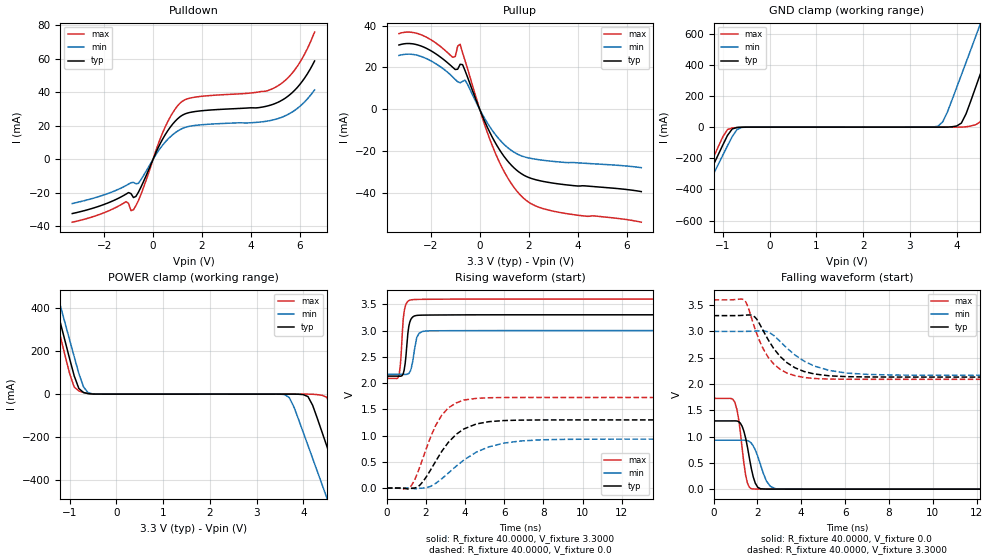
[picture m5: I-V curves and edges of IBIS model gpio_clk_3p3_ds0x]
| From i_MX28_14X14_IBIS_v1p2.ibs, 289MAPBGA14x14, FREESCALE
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|   Model gpio_clk_3p3_ds0x
| This model was characterised for following simulation conditions:
| Spice Models:
|  - Typ Condition
|   ..../backup/r63536/IBIS/GPIO_IBIS/io_dig_gpio_clk_bs_ir_3p3_8mA/typ.model
|  - Min Condition
|   ..../backup/r63536/IBIS/GPIO_IBIS/io_dig_gpio_clk_bs_ir_3p3_8mA/wcs.model
|  - Max Condition
|   ..../backup/r63536/IBIS/GPIO_IBIS/io_dig_gpio_clk_bs_ir_3p3_8mA/bcs.model
[Model]  gpio_clk_3p3_ds0x
Model_type I/O
Polarity   Non-Inverting
Enable   Active-Low
Vinl =   0.8000V
Vinh =   2.0000V
Vmeas =  1.6500V
Cref =   0.0F
Rref =   40.0000
Vref =   1.6500V
C_comp   1.9966pF   1.8331pF   2.1884pF
[Temperature Range]   25.0000   0.1050k   -40.0000
[Voltage Range]   3.3000V   3.0000V   3.6000V
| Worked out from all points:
|   slope of the pulldown table from 0 to 0.495 V, typ, clamps not added: 33.7 ohm
|   slope of the pullup table from 0 to 0.495 V, typ, clamps not added: 38.5 ohm
|   GND clamp passes 1 mA (typ) near -0.62 V on its own axis
|   POWER clamp passes 1 mA (typ) near -0.53 V on its own axis
|   rising waveform, R_fixture 40.0000, V_fixture 3.3000: 20-80 % time 183ps typ, 233ps min, 164ps max; typ from 2.13 V to 3.3 V
|   rising waveform, R_fixture 40.0000, V_fixture 0.0: 20-80 % time 1.51ns typ, 2.13ns min, 1.16ns max; typ from 0 V to 1.3 V
|   falling waveform, R_fixture 40.0000, V_fixture 0.0: 20-80 % time 374ps typ, 476ps min, 313ps max; typ from 1.3 V to 0 V
|   falling waveform, R_fixture 40.0000, V_fixture 3.3000: 20-80 % time 1.3ns typ, 1.69ns min, 1.02ns max; typ from 3.3 V to 2.13 V
[Pulldown]
|Voltage   I(typ)   I(min)   I(max)
-3.3V     -32.33mA   -26.35mA   -37.48mA
-1.1V     -20.7mA    -15.57mA   -25.23mA
-900mV    -20.43mA   -13.92mA   -30.58mA
-800mV    -22.78mA   -13.71mA   -30.11mA
-600mV    -19.65mA   -14.33mA   -24.65mA
400mV     12.33mA    8.642mA    16.17mA
1.1V      25.43mA    17.74mA    33.55mA
1.7V      28.52mA    20.23mA    37.11mA
5V        33.41mA    23.9mA     43.03mA
5.8V      41.45mA    29.38mA    53.6mA
6.2V      48.7mA     34.41mA    63.04mA
6.6V      58.73mA    41.46mA    75.97mA
[Pullup]
|Voltage   I(typ)   I(min)   I(max)
-3.3V     30.71mA    25.73mA    36.15mA
-2.3V     29.77mA    24.83mA    35.11mA
-1.1V     20.04mA    15.43mA    24.85mA
-900mV    19.17mA    13.18mA    30.22mA
-800mV    21.52mA    12.68mA    31.02mA
-600mV    18.49mA    13.94mA    23.27mA
100mV     -2.883mA   -2.195mA   -3.736mA
600mV     -15.14mA   -11.39mA   -19.8mA
1.2V      -25.42mA   -18.76mA   -33.72mA
1.9V      -31.94mA   -22.85mA   -43.37mA
3.2V      -35.47mA   -25mA      -48.96mA
6.6V      -39.17mA   -27.76mA   -53.76mA
[GND_clamp]
|Voltage   I(typ)   I(min)   I(max)
-3.3V     -1.588A    -1.58A     -1.6A
-1.8V     -624.6mA   -664.4mA   -593.9mA
-1V       -113.5mA   -179.4mA   -60.96mA
-800mV    -11.61mA   -60.13mA   -5.458mA
-500mV    -92.08uA   -183.2uA   -74.75uA
3.6V      4.033uA    5.905mA    120.9pA
4.1V      26.02mA    335.2mA    221.8uA
4.4V      251.8mA    577.5mA    14.66mA
4.6V      421.9mA    740mA      98.05mA
4.9V      678.9mA    985.6mA    362.9mA
5.2V      938.2mA    1.233A     632.6mA
6.6V      2.191A     2.422A     1.938A
[POWER_clamp]
|Voltage   I(typ)   I(min)   I(max)
-3.3V     2.191A     2.163A     2.231A
-1.4V     507.3mA    577.5mA    452.5mA
-1.2V     336.7mA    415.8mA    273.7mA
-900mV    85.51mA    174.8mA    33mA
-700mV    7.355mA    33.76mA    7.297mA
3.6V      -3.446uA   -1.888mA   -318.7pA
3.8V      -92.08uA   -60.13mA   -2.661uA
4.1V      -11.61mA   -239.8mA   -74.75uA
4.5V      -240.9mA   -482.1mA   -14.88mA
4.9V      -496.5mA   -725.3mA   -259.5mA
5.2V      -688.7mA   -908.1mA   -460.1mA
6.6V      -1.588A    -1.764A    -1.398A
[Ramp]
| variable   typ   min   max
dV/dt_r  0.7785/1.5060n   0.5588/2.1159n   1.0355/1.1630n
dV/dt_f  0.7010/1.3003n   0.5007/1.6800n   0.9068/1.0162n
R_load = 40.0000
[Rising Waveform]
R_fixture= 40.0000
V_fixture= 3.3000
V_fixture_min= 3.0000
V_fixture_max= 3.6000
|time   V(typ)   V(min)   V(max)
0s        2.132V     2.166V     2.089V
609.4ps   2.131V     2.166V     2.136V
709.8ps   2.13V      2.166V     2.438V
836.8ps   2.178V     2.165V     3.218V
936.3ps   2.372V     2.164V     3.457V
1.12ns    3.076V     2.182V     3.57V
1.254ns   3.23V      2.292V     3.586V
1.528ns   3.288V     2.869V     3.593V
2ns       3.295V     2.993V     3.595V
25ns      3.3V       3V         3.6V
[Rising Waveform]
R_fixture= 40.0000
V_fixture= 0.0
V_fixture_min= 0.0
V_fixture_max= 0.0
|time   V(typ)   V(min)   V(max)
0s        3.676nV    17.21nV    4.589nV
1.229ns   -6.327mV   -3.87mV    34.57mV
1.858ns   128.4mV    -946.2uV   585.1mV
2.488ns   505.5mV    86.88mV    1.188V
2.803ns   696.9mV    175.5mV    1.387V
3.143ns   870.9mV    285.2mV    1.528V
3.938ns   1.126V     533.8mV    1.676V
5.214ns   1.264V     784.4mV    1.72V
7.91ns    1.297V     919.1mV    1.726V
25ns      1.298V     931.4mV    1.726V
[Falling Waveform]
R_fixture= 40.0000
V_fixture= 0.0
V_fixture_min= 0.0
V_fixture_max= 0.0
|time   V(typ)   V(min)   V(max)
0s        1.298V     931.4mV    1.726V
969.6ps   1.298V     931.4mV    1.654V
1.146ns   1.285V     931.5mV    1.331V
1.304ns   1.196V     931.9mV    780.3mV
1.469ns   963.2mV    929.4mV    256.3mV
1.725ns   389.2mV    874mV      8.863mV
2.017ns   35.49mV    625mV      2.408mV
2.41ns    2.434mV    157.4mV    1.363mV
2.841ns   1.369mV    5.718mV    781.7uV
25ns      4.984nV    20.9nV     5nV
[Falling Waveform]
R_fixture= 40.0000
V_fixture= 3.3000
V_fixture_min= 3.0000
V_fixture_max= 3.6000
|time   V(typ)   V(min)   V(max)
0s        3.3V       3V         3.6V
1.379ns   3.307V     3V         3.603V
1.549ns   3.312V     3.001V     3.49V
1.879ns   3.275V     3.005V     3.066V
2.504ns   2.833V     2.989V     2.5V
3.354ns   2.403V     2.68V      2.206V
4.125ns   2.238V     2.436V     2.124V
5.287ns   2.155V     2.257V     2.093V
7.07ns    2.134V     2.181V     2.089V
25ns      2.132V     2.166V     2.089V
